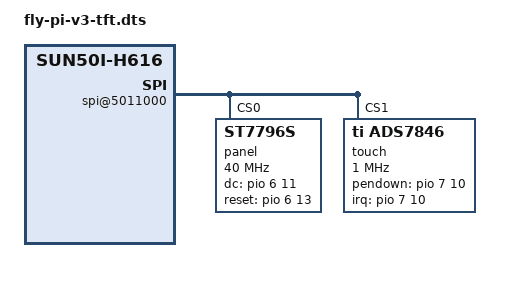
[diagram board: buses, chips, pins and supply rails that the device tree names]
/dts-v1/;
/plugin/;

/*
 * Fly TFT V2 on Fly Pi V3 (H618): ST7796 SPI panel via panel-mipi-dbi on SPI1
 * (spi@5011000), plus resistive ADS7846 on CS1. Capacitive GT911 uses
 * fly-pi-v3-tft-c (disables ADS7846; Cap DIP frees PH4/PH10 for GT911).
 *
 * From fly-h618.dtb pitft@0 / fly_display_pins:
 *   DC=PG11, RESET=PG13, Cap/Res INT=PH10, Cap RESET=PH4
 *   SPI1 pins PH6/7/8, CS0=PH5, CS1=PH9
 * DC and reset are GPIO requests only. A pinctrl claim on the same
 * pins makes the panel probe fail with -EINVAL on PG13.
 *
 * Mutex: TFT owns SPI1 CS0/CS1 — disable OEM pitft (mellow,fly-tft-v2),
 * spidev0/1/2, and leave the ZH1.5-7P ADXL/RRF path for HDMI-only boots.
 * Firmware: /lib/firmware/ST7796S.bin
 */

/ {
	compatible = "mellow,fly-os", "allwinner,sun50i-h618", "allwinner,sun50i-h616";

	fragment@0 {
		target-path = "/aliases";
		__overlay__ {
			spi1 = "/soc/spi@5011000";
		};
	};

	fragment@1 {
		target-path = "/soc/spi@5011000";
		__overlay__ {
			#address-cells = <1>;
			#size-cells = <0>;
			status = "okay";

			/* Proprietary FlyOS node — not in mainline. */
			pitft@0 {
				status = "disabled";
			};

			spidev@0 {
				status = "disabled";
			};

			spidev@1 {
				status = "disabled";
			};

			/* ADXL / RRF CS2 shares this SPI — off while TFT is bound. */
			spidev@2 {
				status = "disabled";
			};

			panel@0 {
				compatible = "ST7796S", "panel-mipi-dbi-spi";
				reg = <0>;
				spi-max-frequency = <40000000>;
				spi-cpha;
				spi-cpol;
				write-only;
				dc-gpios = <&pio 6 11 0>;
				reset-gpios = <&pio 6 13 0>;
				rotation = <90>;
				format = "r5g6b5";
				firmware-name = "ST7796S.bin";
				width-mm = <49>;
				height-mm = <74>;
				status = "okay";

				panel-timing {
					clock-frequency = <0>;
					hactive = <320>;
					vactive = <480>;
					hfront-porch = <0>;
					hback-porch = <0>;
					hsync-len = <0>;
					vfront-porch = <0>;
					vback-porch = <0>;
					vsync-len = <0>;
				};
			};

			touch@1 {
				compatible = "ti,ads7846";
				reg = <1>;
				spi-max-frequency = <1000000>;
				interrupt-parent = <&pio>;
				interrupts = <7 10 2>;
				pendown-gpio = <&pio 7 10 0>;
				ti,keep-vref-on;
				wakeup-source;
				touchscreen-inverted-x;
				touchscreen-swapped-x-y;
				status = "okay";
			};

			/* OEM resistive node name — keep disabled; we use touch@1 above. */
			touch-r@1 {
				status = "disabled";
			};
		};
	};
};
